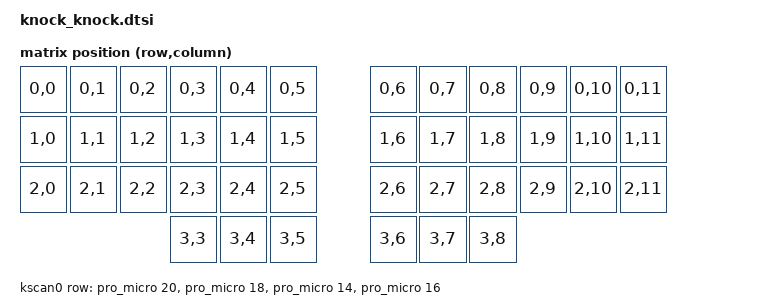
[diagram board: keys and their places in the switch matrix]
#include <dt-bindings/zmk/matrix_transform.h>

/ {
    chosen {
        zmk,physical-layout = &physical_layout0;
    };

    kscan0: kscan0 {
        compatible = "zmk,kscan-gpio-matrix";
        diode-direction = "col2row";
        wakeup-source;

        // Rows are wired identically on both halves, so they live here in the
        // shared include. Sensed as inputs, pulled down (col2row).
        // Pins from connected_pins.md ROWS: 20, 18, 14, 16 (pro_micro nexus).
        row-gpios
            = <&pro_micro 20 (GPIO_ACTIVE_HIGH | GPIO_PULL_DOWN)>
            , <&pro_micro 18 (GPIO_ACTIVE_HIGH | GPIO_PULL_DOWN)>
            , <&pro_micro 14 (GPIO_ACTIVE_HIGH | GPIO_PULL_DOWN)>
            , <&pro_micro 16 (GPIO_ACTIVE_HIGH | GPIO_PULL_DOWN)>
            ;
        // col-gpios are defined per half in the .overlay files.
    };

    default_transform: keymap_transform0 {
        compatible = "zmk,matrix-transform";
        columns = <12>;
        rows = <4>;
        // Left half occupies logical columns 0-5, right half columns 6-11.
        // The right overlay shifts its physical columns with col-offset = 6.
        // Bottom row holds only the 3 inner thumb keys per half.
        map = <
            RC(0,0) RC(0,1) RC(0,2) RC(0,3) RC(0,4) RC(0,5)   RC(0,6) RC(0,7) RC(0,8) RC(0,9) RC(0,10) RC(0,11)
            RC(1,0) RC(1,1) RC(1,2) RC(1,3) RC(1,4) RC(1,5)   RC(1,6) RC(1,7) RC(1,8) RC(1,9) RC(1,10) RC(1,11)
            RC(2,0) RC(2,1) RC(2,2) RC(2,3) RC(2,4) RC(2,5)   RC(2,6) RC(2,7) RC(2,8) RC(2,9) RC(2,10) RC(2,11)
                                    RC(3,3) RC(3,4) RC(3,5)   RC(3,6) RC(3,7) RC(3,8)
        >;
    };

    physical_layout0: physical_layout_0 {
        compatible = "zmk,physical-layout";
        display-name = "Corne";
        kscan = <&kscan0>;
        transform = <&default_transform>;
    };
};
